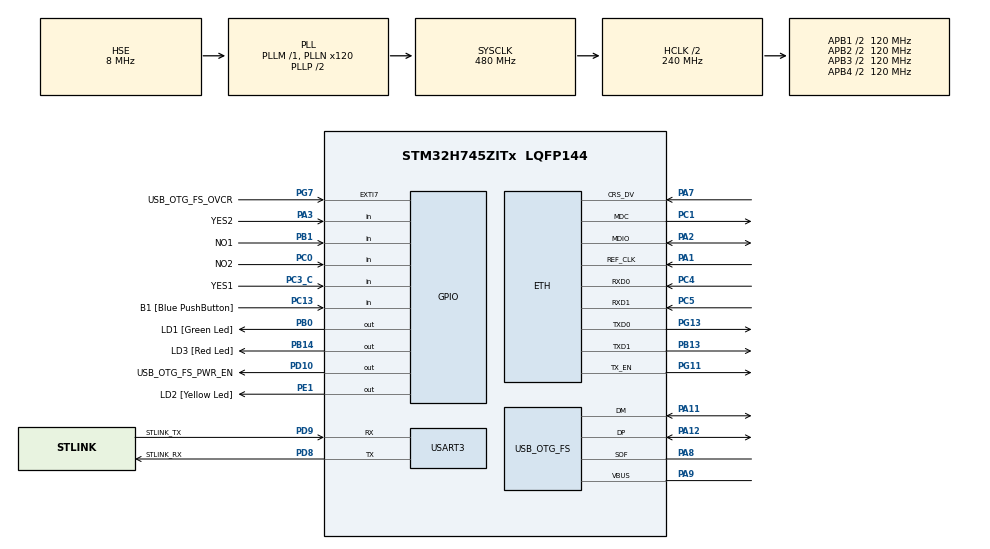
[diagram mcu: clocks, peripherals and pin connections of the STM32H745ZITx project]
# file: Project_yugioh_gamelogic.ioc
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CortexM4.IPs=FATFS_M4\:I,FREERTOS_M4\:I,IWDG2\:I,RCC,WWDG2\:I,DMA,BDMA,MDMA,NVIC2\:I,USART3,ETH,DEBUG,USB_DEVICE_M4\:I,USB_HOST_M4\:I,PDM2PCM_M4\:I,PWR,RESMGR_UTILITY,SYS_M4\:I,CORTEX_M4\:I,OPENAMP_M4\:I,VREFBUF,GPIO
CortexM7.IPs=FATFS_M7\:I,FREERTOS_M7\:I,IWDG1\:I,RCC\:I,WWDG1\:I,DMA\:I,BDMA\:I,MDMA\:I,NVIC1\:I,SYS\:I,USART3\:I,USB_OTG_FS\:I,ETH\:I,CORTEX_M7\:I,DEBUG\:I,USB_DEVICE_M7\:I,USB_HOST_M7\:I,PDM2PCM_M7\:I,PWR\:I,RESMGR_UTILITY\:I,OPENAMP_M7\:I,VREFBUF\:I,GPIO\:I
CortexM7.Pins=PC0,PC3_C,PA3,PB1
ETH.MediaInterface=HAL_ETH_RMII_MODE
Mcu.Family=STM32H7
Mcu.Name=STM32H745ZITx
Mcu.Package=LQFP144
NVIC1.PriorityGroup=NVIC_PRIORITYGROUP_4
NVIC2.PriorityGroup=NVIC_PRIORITYGROUP_4
PA1.Mode=RMII
PA1.PinAttribute=CortexM7
PA1.Signal=ETH_REF_CLK
PA11.Mode=Device_Only
PA11.PinAttribute=CortexM7
PA11.Signal=USB_OTG_FS_DM
PA12.Mode=Device_Only
PA12.PinAttribute=CortexM7
PA12.Signal=USB_OTG_FS_DP
PA2.Mode=RMII
PA2.PinAttribute=CortexM7
PA2.Signal=ETH_MDIO
PA3.GPIO_Label=YES2
PA3.PinAttribute=CortexM7
PA3.Signal=GPIO_Input
PA7.Mode=RMII
PA7.PinAttribute=CortexM7
PA7.Signal=ETH_CRS_DV
PA8.Mode=Activate_SOF_FS
PA8.PinAttribute=CortexM7
PA8.Signal=USB_OTG_FS_SOF
PA9.Mode=Activate_VBUS
PA9.PinAttribute=CortexM7
PA9.Signal=USB_OTG_FS_VBUS
PB0.GPIO_Label=LD1 [Green Led]
PB0.PinAttribute=Free
PB0.Signal=GPIO_Output
PB1.GPIO_Label=NO1
PB1.PinAttribute=CortexM7
PB1.Signal=GPIO_Input
PB13.Mode=RMII
PB13.PinAttribute=CortexM7
PB13.Signal=ETH_TXD1
PB14.GPIO_Label=LD3 [Red Led]
PB14.PinAttribute=Free
PB14.Signal=GPIO_Output
PC0.GPIO_Label=NO2
PC0.PinAttribute=CortexM7
PC0.Signal=GPIO_Input
PC1.Mode=RMII
PC1.PinAttribute=CortexM7
PC1.Signal=ETH_MDC
PC13.GPIO_Label=B1 [Blue PushButton]
PC13.PinAttribute=Free
PC13.Signal=GPIO_Input
PC14-OSC32_IN\ (OSC32_IN).Mode=LSE-External-Oscillator
PC14-OSC32_IN\ (OSC32_IN).PinAttribute=CortexM7
PC14-OSC32_IN\ (OSC32_IN).Signal=RCC_OSC32_IN
PC15-OSC32_OUT\ (OSC32_OUT).Mode=LSE-External-Oscillator
PC15-OSC32_OUT\ (OSC32_OUT).PinAttribute=CortexM7
PC15-OSC32_OUT\ (OSC32_OUT).Signal=RCC_OSC32_OUT
PC3_C.GPIO_Label=YES1
PC3_C.PinAttribute=CortexM7
PC3_C.Signal=GPIO_Input
PC4.Mode=RMII
PC4.PinAttribute=CortexM7
PC4.Signal=ETH_RXD0
PC5.Mode=RMII
PC5.PinAttribute=CortexM7
PC5.Signal=ETH_RXD1
PD10.GPIO_Label=USB_OTG_FS_PWR_EN
PD10.PinAttribute=Free
PD10.Signal=GPIO_Output
PD8.GPIO_Label=STLINK_RX
PD8.Mode=Asynchronous
PD8.PinAttribute=CortexM7
PD8.Signal=USART3_TX
PD9.GPIO_Label=STLINK_TX
PD9.Mode=Asynchronous
PD9.PinAttribute=CortexM7
PD9.Signal=USART3_RX
PE1.GPIO_Label=LD2 [Yellow Led]
PE1.PinAttribute=Free
PE1.Signal=GPIO_Output
PG11.Mode=RMII
PG11.PinAttribute=CortexM7
PG11.Signal=ETH_TX_EN
PG13.Mode=RMII
PG13.PinAttribute=CortexM7
PG13.Signal=ETH_TXD0
PG7.GPIO_Label=USB_OTG_FS_OVCR
PG7.PinAttribute=Free
PG7.Signal=GPXTI7
PH0-OSC_IN\ (PH0).Mode=HSE-External-Clock-Source
PH0-OSC_IN\ (PH0).PinAttribute=CortexM7
PH0-OSC_IN\ (PH0).Signal=RCC_OSC_IN
PH1-OSC_OUT\ (PH1).PinAttribute=CortexM7
PH1-OSC_OUT\ (PH1).Signal=RCC_OSC_OUT
ProjectManager.HeapSize=M4-0x200,M7-0x200
ProjectManager.StackSize=M4-0x400,M7-0x400
ProjectManager.TargetToolchain=STM32CubeIDE
RCC.ADCFreq_Value=16125000
RCC.APB1Freq_Value=120000000
RCC.APB2Freq_Value=120000000
RCC.APB3Freq_Value=120000000
RCC.APB4Freq_Value=120000000
RCC.CortexFreq_Value=480000000
RCC.D1PPRE=RCC_APB3_DIV2
RCC.D2PPRE1=RCC_APB1_DIV2
RCC.D2PPRE2=RCC_APB2_DIV2
RCC.D3PPRE=RCC_APB4_DIV2
RCC.DIVM1=1
RCC.DIVM3=1
RCC.DIVN1=120
RCC.DIVN3=24
RCC.DIVQ3=4
RCC.HCLKFreq_Value=240000000
RCC.HPRE=RCC_HCLK_DIV2
RCC.HSE_VALUE=8000000
RCC.PLL2FRACN=0
RCC.PLL3FRACN=0
RCC.PLLFRACN=0
RCC.SYSCLKFreq_VALUE=480000000
RCC.SYSCLKSource=RCC_SYSCLKSOURCE_PLLCLK
RCC.SupplySource=PWR_DIRECT_SMPS_SUPPLY
RCC.USBCLockSelection=RCC_USBCLKSOURCE_PLL3
RCC.USBFreq_Value=48000000
USART3.VirtualMode-Asynchronous=VM_ASYNC
USB_OTG_FS.VirtualMode=Device_Only
VP_SYS_M4_VS_Systick.Mode=SysTick
board=NUCLEO-H745ZI-Q

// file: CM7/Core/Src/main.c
/* USER CODE BEGIN Header */
/**
 ******************************************************************************
 * @file           : main.c
 * @brief          : Main program body
 ******************************************************************************
 * @attention
 *
 * Copyright (c) 2022 STMicroelectronics.
 * All rights reserved.
 *
 * This software is licensed under terms that can be found in the LICENSE file
 * in the root directory of this software component.
 * If no LICENSE file comes with this software, it is provided AS-IS.
 *
 ******************************************************************************
 */
/* USER CODE END Header */
#include "main.h"
#include "string.h"

/* USER CODE BEGIN Includes */
//#include "card.h"
/* USER CODE END Includes */

/* USER CODE BEGIN PD */

#ifndef HSEM_ID_0
#define HSEM_ID_0 (0U) /* HW semaphore 0*/
#endif
/* USER CODE END PD */

#if defined ( __ICCARM__ ) /*!< IAR Compiler */
#pragma location=0x30000000
ETH_DMADescTypeDef  DMARxDscrTab[ETH_RX_DESC_CNT]; /* Ethernet Rx DMA Descriptors */
#pragma location=0x30000200
ETH_DMADescTypeDef  DMATxDscrTab[ETH_TX_DESC_CNT]; /* Ethernet Tx DMA Descriptors */

#elif defined ( __CC_ARM )  /* MDK ARM Compiler */

__attribute__((at(0x30000000))) ETH_DMADescTypeDef  DMARxDscrTab[ETH_RX_DESC_CNT]; /* Ethernet Rx DMA Descriptors */
__attribute__((at(0x30000200))) ETH_DMADescTypeDef  DMATxDscrTab[ETH_TX_DESC_CNT]; /* Ethernet Tx DMA Descriptors */

#elif defined ( __GNUC__ ) /* GNU Compiler */
ETH_DMADescTypeDef DMARxDscrTab[ETH_RX_DESC_CNT] __attribute__((section(".RxDecripSection"))); /* Ethernet Rx DMA Descriptors */
ETH_DMADescTypeDef DMATxDscrTab[ETH_TX_DESC_CNT] __attribute__((section(".TxDecripSection"))); /* Ethernet Tx DMA Descriptors */

#endif

ETH_TxPacketConfig TxConfig;

ETH_HandleTypeDef heth;

UART_HandleTypeDef huart3;

PCD_HandleTypeDef hpcd_USB_OTG_FS;

/* USER CODE BEGIN PV */
static enum {
	first_player, second_player
} player_state = first_player;
static enum {
	Drawn_Phase, Main_Phase, Battle_Phase, Chain_Phase
} STATE = Drawn_Phase;
static enum {
	selection, counter1, calculate, counter2
} BATTLE = selection;
static enum {
	player1_chain, player2_chain
} CHAIN = player1_chain;
static enum {
	check_card, set_monster, set_spell, set_trap
} MAIN = set_monster;

uint32_t stack_chain[10] = { 0 };
uint8_t end = 0;

uint8_t button_ATK = 0;
uint8_t button_DEF = 0;

typedef struct _Player {
	uint16_t life_point;
	uint8_t monster[3];
	uint8_t trapAndSpell[3];
	uint16_t GY[10];
	enum _button {
		button1, button2
	} button;
} Player;

Player player1 = { 4000, { 0 }, { 0 }, { 0 }, button1 };
Player player2 = { 4000, { 0 }, { 0 }, { 0 }, button2 };
/* USER CODE END PV */

void SystemClock_Config(void);
static void MX_GPIO_Init(void);
static void MX_ETH_Init(void);
static void MX_USART3_UART_Init(void);
static void MX_USB_OTG_FS_PCD_Init(void);

int main(void) {
	/* USER CODE BEGIN Boot_Mode_Sequence_0 */
	int32_t timeout;
	/* USER CODE END Boot_Mode_Sequence_0 */

	/* USER CODE BEGIN Boot_Mode_Sequence_1 */
	/* Wait until CPU2 boots and enters in stop mode or timeout*/
	timeout = 0xFFFF;
	while ((__HAL_RCC_GET_FLAG(RCC_FLAG_D2CKRDY) != RESET) && (timeout-- > 0))
		;
	if (timeout < 0) {
		Error_Handler();
	}
	/* USER CODE END Boot_Mode_Sequence_1 */
	/* MCU Configuration--------------------------------------------------------*/

	/* Reset of all peripherals, Initializes the Flash interface and the Systick. */
	HAL_Init();

	/* Configure the system clock */
	SystemClock_Config();
	/* USER CODE BEGIN Boot_Mode_Sequence_2 */
	/* When system initialization is finished, Cortex-M7 will release Cortex-M4 by means of
	 HSEM notification */
	/*HW semaphore Clock enable*/
	__HAL_RCC_HSEM_CLK_ENABLE();
	/*Take HSEM */
	HAL_HSEM_FastTake(HSEM_ID_0);
	/*Release HSEM in order to notify the CPU2(CM4)*/
	HAL_HSEM_Release(HSEM_ID_0, 0);
	/* wait until CPU2 wakes up from stop mode */
	timeout = 0xFFFF;
	while ((__HAL_RCC_GET_FLAG(RCC_FLAG_D2CKRDY) == RESET) && (timeout-- > 0))
		;
	if (timeout < 0) {
		Error_Handler();
	}
	/* USER CODE END Boot_Mode_Sequence_2 */

	/* Initialize all configured peripherals */
	MX_GPIO_Init();
	MX_ETH_Init();
	MX_USART3_UART_Init();
	MX_USB_OTG_FS_PCD_Init();

	/* Infinite loop */
	/* USER CODE BEGIN WHILE */
	while (1) {
		switch (player_state) {
		case first_player:
			loop_game(&player1, &player2);
			break;
		case second_player:
			loop_game(&player2, &player1);
			break;
		}
		/* USER CODE END WHILE */

	}
}

void SystemClock_Config(void) {
	RCC_OscInitTypeDef RCC_OscInitStruct = { 0 };
	RCC_ClkInitTypeDef RCC_ClkInitStruct = { 0 };

	/** Supply configuration update enable
	 */
	HAL_PWREx_ConfigSupply(PWR_DIRECT_SMPS_SUPPLY);

	/** Configure the main internal regulator output voltage
	 */
	__HAL_PWR_VOLTAGESCALING_CONFIG(PWR_REGULATOR_VOLTAGE_SCALE0);

	while (!__HAL_PWR_GET_FLAG(PWR_FLAG_VOSRDY)) {
	}

	/** Macro to configure the PLL clock source
	 */
	__HAL_RCC_PLL_PLLSOURCE_CONFIG(RCC_PLLSOURCE_HSE);

	/** Initializes the RCC Oscillators according to the specified parameters
	 * in the RCC_OscInitTypeDef structure.
	 */
	RCC_OscInitStruct.OscillatorType = RCC_OSCILLATORTYPE_HSE;
	RCC_OscInitStruct.HSEState = RCC_HSE_BYPASS;
	RCC_OscInitStruct.PLL.PLLState = RCC_PLL_ON;
	RCC_OscInitStruct.PLL.PLLSource = RCC_PLLSOURCE_HSE;
	RCC_OscInitStruct.PLL.PLLM = 1;
	RCC_OscInitStruct.PLL.PLLN = 120;
	RCC_OscInitStruct.PLL.PLLP = 2;
	RCC_OscInitStruct.PLL.PLLQ = 2;
	RCC_OscInitStruct.PLL.PLLR = 2;
	RCC_OscInitStruct.PLL.PLLRGE = RCC_PLL1VCIRANGE_3;
	RCC_OscInitStruct.PLL.PLLVCOSEL = RCC_PLL1VCOWIDE;
	RCC_OscInitStruct.PLL.PLLFRACN = 0;
	if (HAL_RCC_OscConfig(&RCC_OscInitStruct) != HAL_OK) {
		Error_Handler();
	}

	/** Initializes the CPU, AHB and APB buses clocks
	 */
	RCC_ClkInitStruct.ClockType = RCC_CLOCKTYPE_HCLK | RCC_CLOCKTYPE_SYSCLK
			| RCC_CLOCKTYPE_PCLK1 | RCC_CLOCKTYPE_PCLK2 | RCC_CLOCKTYPE_D3PCLK1
			| RCC_CLOCKTYPE_D1PCLK1;
	RCC_ClkInitStruct.SYSCLKSource = RCC_SYSCLKSOURCE_PLLCLK;
	RCC_ClkInitStruct.SYSCLKDivider = RCC_SYSCLK_DIV1;
	RCC_ClkInitStruct.AHBCLKDivider = RCC_HCLK_DIV2;
	RCC_ClkInitStruct.APB3CLKDivider = RCC_APB3_DIV2;
	RCC_ClkInitStruct.APB1CLKDivider = RCC_APB1_DIV2;
	RCC_ClkInitStruct.APB2CLKDivider = RCC_APB2_DIV2;
	RCC_ClkInitStruct.APB4CLKDivider = RCC_APB4_DIV2;

	if (HAL_RCC_ClockConfig(&RCC_ClkInitStruct, FLASH_LATENCY_4) != HAL_OK) {
		Error_Handler();
	}
}

static void MX_ETH_Init(void) {

	static uint8_t MACAddr[6];

	heth.Instance = ETH;
	MACAddr[0] = 0x00;
	MACAddr[1] = 0x80;
	MACAddr[2] = 0xE1;
	MACAddr[3] = 0x00;
	MACAddr[4] = 0x00;
	MACAddr[5] = 0x00;
	heth.Init.MACAddr = &MACAddr[0];
	heth.Init.MediaInterface = HAL_ETH_RMII_MODE;
	heth.Init.TxDesc = DMATxDscrTab;
	heth.Init.RxDesc = DMARxDscrTab;
	heth.Init.RxBuffLen = 1524;

	if (HAL_ETH_Init(&heth) != HAL_OK) {
		Error_Handler();
	}

	memset(&TxConfig, 0, sizeof(ETH_TxPacketConfig));
	TxConfig.Attributes = ETH_TX_PACKETS_FEATURES_CSUM
			| ETH_TX_PACKETS_FEATURES_CRCPAD;
	TxConfig.ChecksumCtrl = ETH_CHECKSUM_IPHDR_PAYLOAD_INSERT_PHDR_CALC;
	TxConfig.CRCPadCtrl = ETH_CRC_PAD_INSERT;

}

static void MX_USART3_UART_Init(void) {

	huart3.Instance = USART3;
	huart3.Init.BaudRate = 115200;
	huart3.Init.WordLength = UART_WORDLENGTH_8B;
	huart3.Init.StopBits = UART_STOPBITS_1;
	huart3.Init.Parity = UART_PARITY_NONE;
	huart3.Init.Mode = UART_MODE_TX_RX;
	huart3.Init.HwFlowCtl = UART_HWCONTROL_NONE;
	huart3.Init.OverSampling = UART_OVERSAMPLING_16;
	huart3.Init.OneBitSampling = UART_ONE_BIT_SAMPLE_DISABLE;
	huart3.Init.ClockPrescaler = UART_PRESCALER_DIV1;
	huart3.AdvancedInit.AdvFeatureInit = UART_ADVFEATURE_NO_INIT;
	if (HAL_UART_Init(&huart3) != HAL_OK) {
		Error_Handler();
	}
	if (HAL_UARTEx_SetTxFifoThreshold(&huart3, UART_TXFIFO_THRESHOLD_1_8)
			!= HAL_OK) {
		Error_Handler();
	}
	if (HAL_UARTEx_SetRxFifoThreshold(&huart3, UART_RXFIFO_THRESHOLD_1_8)
			!= HAL_OK) {
		Error_Handler();
	}
	if (HAL_UARTEx_DisableFifoMode(&huart3) != HAL_OK) {
		Error_Handler();
	}

}

static void MX_USB_OTG_FS_PCD_Init(void) {

	hpcd_USB_OTG_FS.Instance = USB_OTG_FS;
	hpcd_USB_OTG_FS.Init.dev_endpoints = 9;
	hpcd_USB_OTG_FS.Init.speed = PCD_SPEED_FULL;
	hpcd_USB_OTG_FS.Init.dma_enable = DISABLE;
	hpcd_USB_OTG_FS.Init.phy_itface = PCD_PHY_EMBEDDED;
	hpcd_USB_OTG_FS.Init.Sof_enable = DISABLE;
	hpcd_USB_OTG_FS.Init.low_power_enable = DISABLE;
	hpcd_USB_OTG_FS.Init.lpm_enable = DISABLE;
	hpcd_USB_OTG_FS.Init.battery_charging_enable = ENABLE;
	hpcd_USB_OTG_FS.Init.vbus_sensing_enable = ENABLE;
	hpcd_USB_OTG_FS.Init.use_dedicated_ep1 = DISABLE;
	if (HAL_PCD_Init(&hpcd_USB_OTG_FS) != HAL_OK) {
		Error_Handler();
	}

}

static void MX_GPIO_Init(void) {
	GPIO_InitTypeDef GPIO_InitStruct = { 0 };

	/* GPIO Ports Clock Enable */
	__HAL_RCC_GPIOC_CLK_ENABLE();
	__HAL_RCC_GPIOH_CLK_ENABLE();
	__HAL_RCC_GPIOA_CLK_ENABLE();
	__HAL_RCC_GPIOB_CLK_ENABLE();
	__HAL_RCC_GPIOD_CLK_ENABLE();
	__HAL_RCC_GPIOG_CLK_ENABLE();

	/*Configure GPIO pins : NO2_Pin YES1_Pin */
	GPIO_InitStruct.Pin = NO2_Pin | YES1_Pin;
	GPIO_InitStruct.Mode = GPIO_MODE_INPUT;
	GPIO_InitStruct.Pull = GPIO_NOPULL;
	HAL_GPIO_Init(GPIOC, &GPIO_InitStruct);

	/*Configure GPIO pin : YES2_Pin */
	GPIO_InitStruct.Pin = YES2_Pin;
	GPIO_InitStruct.Mode = GPIO_MODE_INPUT;
	GPIO_InitStruct.Pull = GPIO_NOPULL;
	HAL_GPIO_Init(YES2_GPIO_Port, &GPIO_InitStruct);

	/*Configure GPIO pin : NO1_Pin */
	GPIO_InitStruct.Pin = NO1_Pin;
	GPIO_InitStruct.Mode = GPIO_MODE_INPUT;
	GPIO_InitStruct.Pull = GPIO_NOPULL;
	HAL_GPIO_Init(NO1_GPIO_Port, &GPIO_InitStruct);

}

/* USER CODE BEGIN 4 */
void loop_game(Player *player_ATK, Player *player_DEF) {
//	Player* ptr_atk = player_ATK;
	switch (STATE) {
	case Drawn_Phase:
		/*press botton*/
		if ((HAL_GPIO_ReadPin(YES1_GPIO_Port, YES1_Pin) == GPIO_PIN_RESET)
				& (player_ATK->button == button1)) {
			STATE = Main_Phase;
		} else if ((HAL_GPIO_ReadPin(YES2_GPIO_Port, YES2_Pin) == GPIO_PIN_RESET)
				& (player_ATK->button == button2)) {
			STATE = Main_Phase;
		}
//		STATE = Main_Phase;
		break;
	case Main_Phase:
		if (HAL_GPIO_ReadPin(YES2_GPIO_Port, YES1_Pin) == GPIO_PIN_RESET) {
			player_ATK->life_point = 2000;
			STATE = Drawn_Phase;
		}
		/*check card type and what is card*/
		switch (MAIN) {
		case check_card:
			if (monster card) {
				if (player_ATK.monster >= 3) {
					print("can't add more monster");
				} else {
					/*chain*/
					MAIN = set_monster;

				}
			} else if (spell_card) {
				if (player_ATK.trapAndSpell >= 3) {
					print("can't add more spell");
				} else {
					/*chain*/
					MAIN = set_spell;
				}
			} else if (trap_card) {
				if (player_ATK.trapAndSpell >= 3) {
					print("can't add more spell");
				} else {
					/*chain*/
					MAIN = set_trap;
				}
			} else if (button_ATK == GPIO_PIN_RESET) {
				STATE = Battle_Phase;
			}
			break;
		case set_monster:
			player_ATK.monster[card.position] = monster;
			MAIN = check_card;
			break;
		case set_spell:
			player_ATK.trapAndSpell[position] = spell;
			if (spell duble) {
				if (magic.effect_type == destroy_all) {
					/*clear monster data*/
					/*for i*/
					player_ATK.GY = 0;
					player_DEF.monster = 0;
					/*add monster to GY1 and GY2*/
				} else if (magic.effect_type == destroy_enemy) {
					/*clear monster enemy data*/
					player_DEF.monster = 0;
				} else if (magic.effect_type == reborn) {
					/*reborn from GY*/

				} else if (magic.effect_type == summon) {
					/*place > level 5 in some RFID by touch the card*/
				} else if (magic.effect_type == change_position) {
					/*change enemy monster def to atk*/
					if (magic.monster == defense) {
						/*change*/
					}
				}
			}
			MAIN = check_card;
			break;
		case set_trap:
			player_ATK.trapAndSpell[card.position] = trap;
			break;
		}
		break;
	case Battle_Phase:
		/*After card touch check monster than*/
		if (RFID_Read) {
			switch (BATTLE) {
			case selection:
				if (RFID_Read) {
					Monster_ATK, Monster_DEF = read;
					if (Monster_ATK.position == ATK) {
						if (Monster_DEF.position == DEF) {
							/*flip*/
							Monster_DEF.positon == DEF_Up;
						}
						BATTLE = counter1;
					} else {
						print("this monster is not in ATK position");
					}
				} else if (button) {
					STATE = Drawn_Phase;
					if (player_state == first_player) {
						player_state = second_player;
					} else {
						player_state = first_player;
					}
				}
				break;
			case counter1:
				/*check RFID*/
				if (monster.effect = no_damage) {
					monster.attacker = 1;
					monster.status = GY;
					BATTLE = selection;
				} else if (trap.position == Up) {
					if (trap.turn == 1) {
						if (trap.type = gain_point) {
							player.life_point += player.monster * 300;
							BATTLE = selection;
						} else if (trap.type = negate_atk) {
							STATE = End_Phase;
						}
					}
				}
				break;
			case calculate:
				if (Monster_DEF.position == DEF_Up) {
					uint16_t result = Monster_ATK.attack - Monster_DEF.defense;
					if (result > 0) {
						Monster_DEF.status = GY2;
					} else if (result < 0) {
						Monster_ATK.status = GY1;
					} else {
						Monster_ATK.status = GY1;
						Monster_DEF.status = GY2;
					}
				} else if (Monster_DEF.position == ATK) {
					uint16_t result = Monster_ATK.attack - Monster_DEF.attack;
					if (result > 0) {
						player_DEF->life_point -= result;
						Monster_DEF.status = GY2;
					} else if (result < 0) {
						Monster_ATK.status = GY1;
					} else {
						Monster_ATK.status = GY1;
						Monster_DEF.status = GY2;
					}

				}

			}
		}
		break;
	case Chain_Phase:
		/**/
		if (button_DEF) {

		}
	}

}

//void battle( Monster_ATK, Monster_DEF) {
//	switch (BATTLE) {
//	case selection:
//		if (Monster_ATK.position == ATK) {
//			if (Monster_DEF.position == DEF) {
//				/*flip*/
//				Monster_DEF.positon == DEF_Up;
//			}
//			BATTLE = counter1;
//		}
//		break;
//	case counter1:
//		/*check RFID*/
//		if (monster.effect = no_damage) {
//			monster.attacker = 1;
//			monster.status = GY;
//			BATTLE = selection;
//		} else if (trap.position == Up) {
//			if (trap.turn == 1) {
//				if (trap.type = gain_point) {
//					player.life_point += player.monster * 300;
//					BATTLE = selection;
//				} else if (trap.type = negate_atk) {
//					STATE = End_Phase;
//				}
//			}
//		}
//		break;
//	case calculate:
//		if (Monster_DEF.position == DEF_Up) {
//			uint16_t result = Monster_ATK.attack - Monster_DEF.defense;
//			if (result > 0) {
//				Monster_DEF.status = GY2;
//			} else if (result < 0) {
//				Monster_ATK.status = GY1;
//			} else {
//				Monster_ATK.status = GY1;
//				Monster_DEF.status = GY2;
//			}
//		} else if (Monster_DEF.position == ATK) {
//			uint16_t result = Monster_ATK.attack - Monster_DEF.attack;
//			if (result > 0) {
//				Monster_DEF.status = GY2;
//			} else if (result < 0) {
//				Monster_ATK.status = GY1;
//			} else {
//				Monster_ATK.status = GY1;
//				Monster_DEF.status = GY2;
//			}
//
//		}
//
//	}
//	break;

//}

//void chain() {
//	uint8_t i = 0;
//	switch (CHAIN) {
//	case player1_chain:
//		if (button_DEF == yes) {
//			/*read RFID ifRFID is trap and turn == 1 stack += 1*/
//			stack_chain[i] = name;
//			i += 1;
//		} else {
//			i = 0;
//		}
//		break;
//	case player2_chain:
//		if(button)
//	}
//}
/* USER CODE END 4 */

void Error_Handler(void) {
	__disable_irq();
	while (1) {
	}
}
